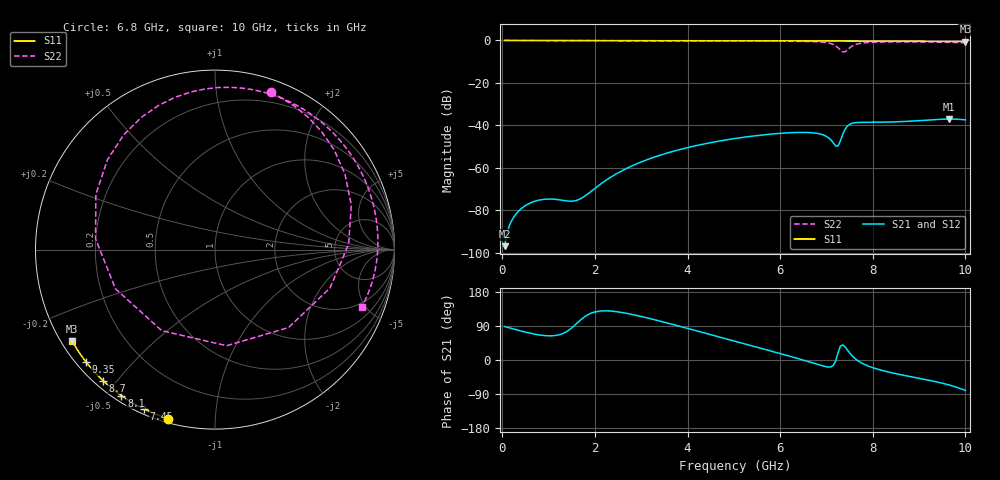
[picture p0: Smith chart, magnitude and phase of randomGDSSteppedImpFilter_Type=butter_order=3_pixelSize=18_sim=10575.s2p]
! freq	dB(S11)	phase(S11)	dB(S12)	phase(S12)
!  dB(S21)	phase(S21)	dB(S22)	phase(S22)
!S-par simulation data
#  GHz  S  DB  R 50
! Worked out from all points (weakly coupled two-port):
!   200 points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, 50 MHz to 10 GHz, reference 50 ohm
!   highest |S21| = -37.04 dB at 9.65 GHz (marker M1); lowest = -96.9 dB at 50 MHz (marker M2)
!   lowest |S11| = -0.5 dB at 10 GHz (marker M3), VSWR 35.28, Z = 1.54 - j14.6 ohm
!   |S11| at or under -10 dB: nowhere
!   |S22| runs from -5.4 to 0.0 dB; largest |S21 - S12| = 0
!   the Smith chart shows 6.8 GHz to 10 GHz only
!   S11 on the Smith chart (normalised r, x): 6.8 GHz: 0.02, -0.76; 7.45 GHz: 0.02, -0.65; 8.1 GHz: 0.02, -0.55; 8.7 GHz: 0.02, -0.46; 9.35 GHz: 0.03, -0.37; 10 GHz: 0.03, -0.29
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0.05  -0.00 -0.9  -96.91 88.3  -96.91 88.3  -0.00 -2.7
0.95  -0.02 -16.2  -74.75 64.1  -74.75 64.1  -0.06 -49.3
1.75  -0.04 -29.5  -73.78 111.7  -73.78 111.7  -0.10 -86.8
2.55  -0.05 -42.6  -61.78 126.1  -61.78 126.1  -0.13 -119.7
3.4  -0.07 -56.1  -54.10 102.8  -54.10 102.8  -0.16 -150.8
5.05  -0.12 -80.9  -46.10 48.6  -46.10 48.6  -0.24 152.6
5.95  -0.16 -93.7  -43.84 18.7  -43.84 18.7  -0.32 118.4
6.7  -0.20 -104.0  -43.50 -7.5  -43.50 -7.5  -0.55 78.6
6.8  -0.21 -105.4  -43.78 -11.2  -43.78 -11.2  -0.64 70.5
7.05  -0.22 -108.8  -45.92 -18.7  -45.92 -18.7  -1.25 40.1
7.2  -0.23 -110.8  -49.67 -2.3  -49.67 -2.3  -2.55 2.4
7.25  -0.24 -111.4  -49.74 18.9  -49.74 18.9  -3.41 -18.5
7.35  -0.24 -112.8  -44.29 39.8  -44.29 39.8  -5.36 -83.1
7.45  -0.25 -114.1  -40.42 27.0  -40.42 27.0  -4.50 -158.5
7.55  -0.26 -115.4  -39.06 11.7  -39.06 11.7  -2.71 155.1
7.7  -0.27 -117.4  -38.62 -3.7  -38.62 -3.7  -1.48 119.1
8.1  -0.30 -122.7  -38.55 -24.1  -38.55 -24.1  -0.77 76.7
8.35  -0.32 -125.9  -38.44 -32.0  -38.44 -32.0  -0.69 60.4
8.7  -0.35 -130.5  -38.15 -41.1  -38.15 -41.1  -0.68 41.0
9.35  -0.42 -138.9  -37.27 -57.0  -37.27 -57.0  -0.79 8.9
9.65  -0.45 -142.8  -37.04 -66.0  -37.04 -66.0  -0.90 -5.2
10  -0.49 -147.4  -37.39 -80.1  -37.39 -80.1  -1.13 -21.2
